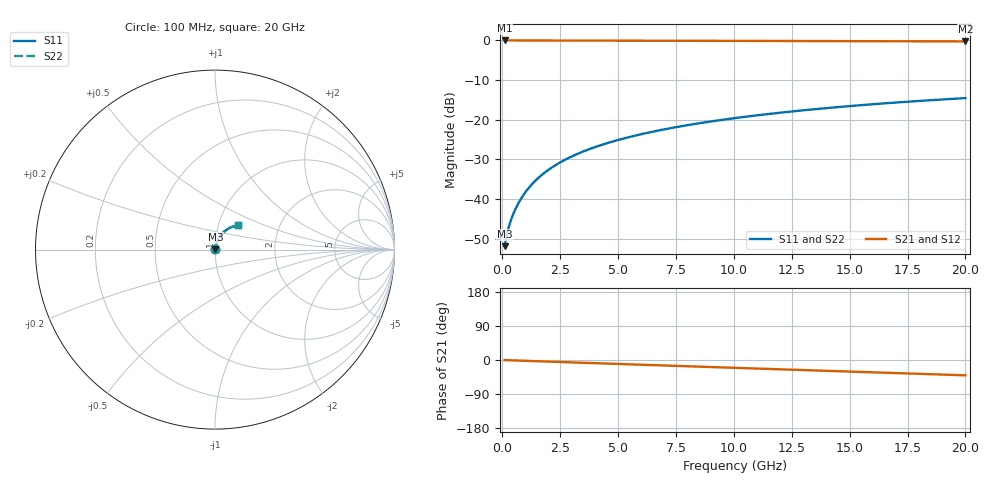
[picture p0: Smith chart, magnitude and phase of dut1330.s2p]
! Touchstone file exported from HFSS 2026.1.0
!  File:  C:/ffzhzh/LocalFiles/Ansys_Project_Files/temp_train_BSMRDL_1330_1783178678_51560.aedt
!  Generated:  11:25:54 PM Jul  4, 2026
!  Design:  BSMRDL
!  Project:  temp_train_BSMRDL_1330_1783178678_51560
! Variables:
!  h_bsmrdl = 4.66um
!  h_ox = 20um
!  h_rdl = 5um
!  h_sub = 80um
!  h_tmrdl = 5um
!  h_tsv = 80um
!  h_via = 3um
!  l_bsmrdl = 679.14um
!  l_sub = 1079.14um
!  l_tmrdl = 200um
!  m_sub = 200um
!  pitch = 42.39um
!  r_tsv = 6um
!  s_tmrdl = 10um
!  w_bsmrdl = 29.76um
!  w_sub = 500um
!  w_tmrdl = 12um
!  x_tsv_center1 = 206um
!  x_tsv_center2 = 914.9um
!  x_tsv_center3 = 1126.9um
!  x_tsv_center4 = 1835.8um
!  x_tsv_center5 = 2047.8um
!  x_tsv_center6 = 2756.7um
# GHz S MA R 50.000000
! Terminal data exported
! Port[1] = BSM_RDL1_1_T1
! Port[2] = BSM_RDL1_1_T2
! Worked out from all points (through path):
!   200 points, 100 MHz to 20 GHz, reference 50 ohm
!   highest |S21| = -0.02 dB at 100 MHz (marker M1); lowest = -0.3 dB at 20 GHz (marker M2)
!   group delay of S21, straight-line fit = 5.6 ps
!   lowest |S11| = -51.9 dB at 100 MHz (marker M3), VSWR 1.01, Z = 50.2 + j0.151 ohm
!   |S11| at or under -10 dB: start of sweep to end of sweep
!   |S22| runs from -51.9 to -14.6 dB; largest |S21 - S12| = 2.1e-15
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0.1  0.002533 36.5  0.998 -0.2  0.998 -0.2  0.002533 36.5
! Gamma 0 0 0 0
! Port Impedance 50 0 50 0
0.2  0.003608 50.0  0.9977 -0.5  0.9977 -0.5  0.003608 50.0
0.3  0.004645 57.0  0.9975 -0.7  0.9975 -0.7  0.004645 57.0
0.4  0.005672 61.8  0.9974 -0.9  0.9974 -0.9  0.005672 61.8
0.5  0.006715 65.4  0.9973 -1.1  0.9973 -1.1  0.006715 65.4
0.6  0.007778 68.0  0.9972 -1.3  0.9972 -1.3  0.007778 68.0
0.8  0.009953 71.6  0.9971 -1.7  0.9971 -1.7  0.009954 71.6
1.1  0.01329 74.6  0.9969 -2.3  0.9969 -2.3  0.01329 74.6
1.3  0.01553 75.7  0.9968 -2.8  0.9968 -2.8  0.01553 75.7
1.6  0.0189 76.6  0.9965 -3.4  0.9965 -3.4  0.0189 76.5
2.1  0.02448 77.0  0.9961 -4.4  0.9961 -4.4  0.02448 77.0
2.7  0.03109 76.7  0.9954 -5.7  0.9954 -5.7  0.03109 76.7
3.5  0.03972 75.7  0.9945 -7.4  0.9945 -7.4  0.03972 75.7
4.2  0.04711 74.7  0.9936 -8.8  0.9936 -8.8  0.04711 74.7
5  0.0554 73.4  0.9925 -10.4  0.9925 -10.4  0.0554 73.4
5.9  0.06453 71.9  0.9913 -12.3  0.9913 -12.3  0.06453 71.8
6.8  0.07349 70.3  0.9901 -14.1  0.9901 -14.1  0.0735 70.3
8.3  0.08809 67.6  0.9881 -17.2  0.9881 -17.2  0.0881 67.6
10.1  0.1051 64.4  0.9855 -20.8  0.9855 -20.8  0.1051 64.4
13.4  0.1347 58.3  0.9807 -27.4  0.9807 -27.4  0.1347 58.3
16.7  0.1621 52.2  0.9755 -34.0  0.9755 -34.0  0.1621 52.2
20  0.187 46.1  0.9703 -40.5  0.9703 -40.5  0.187 46.0
